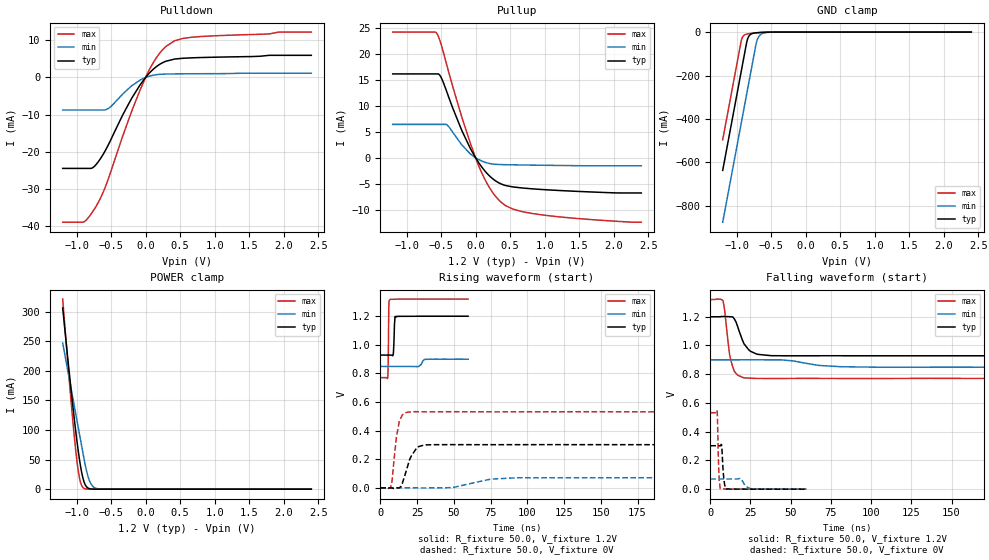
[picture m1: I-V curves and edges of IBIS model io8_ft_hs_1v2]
| [Disclaimer]  This information is for modeling purpose only and is
| not guaranted. The information is subject to change without
| notice.
| [Copyright] Copyright 2025 STMicroelectronics Inc.
| From stm32c091_092_ufqfpn48.ibs, stm32c091_092_ufqfpn48, STMicroelectronics
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[Model]   io8_ft_hs_1v2
Model_type I/O
Polarity   Non-Inverting
Enable   Active-Low
| CAP_THRESHOLD on pad IOFT is "UDTCAPC" :
| Rising=30.0% of vddiom   Falling=70.0% of vddiom
| C_comp min and max val. don't necessarily correlate with the min and max pvt
| but are the smallest and greatest pad capacitance found.
| var   typ   min   max
C_comp   1.65399pF  1.65230pF  1.65862pF
|C_comp_pullup   919.52500fF  960.64500fF  944.83500fF
|C_comp_pulldown   734.46002fF  691.65501fF  713.78001fF
Vinl = 450.0mV
Vinh = 660.0mV
Vmeas = 600.0mV   | Reference voltage for timing measurements
Cref  = 50.0pF   | Timing specification test load capacitance value
Rref  = 1.0MOhm   | Timing specification test load resistance value
Vref  = 660.0mV   | Timing specification test load voltage
[Model Spec]
| TIME_THRESHOLD on pin ZIV12 is "CMOS" :
| Rising=50.0% of vdd   Falling=50.0% of vdd
Vinl 458.70000mV 361.70000mV 499.70000mV
Vinh 728.30000mV 549.30000mV 792.30000mV
| variable   typ   min   max
[Temperature Range] 25.0 125.0 -40.0
| variable   typ   min   max
[Voltage Range] 1.2V 900.0mV 1.32V
| variable   typ   min   max
[POWER Clamp Reference] 1.2V 900.0mV 1.32V
| variable   typ   min   max
[GND Clamp Reference] 0V 0V 0V
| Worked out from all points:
|   slope of the pulldown table from 0 to 0.18 V, typ, clamps not added: 55.6 ohm
|   slope of the pullup table from 0 to 0.18 V, typ, clamps not added: 56.3 ohm
|   GND clamp passes 1 mA (typ) near -0.61 V on its own axis
|   POWER clamp passes 1 mA (typ) near -0.81 V on its own axis
|   rising waveform, R_fixture 50.0, V_fixture 1.2V: 20-80 % time 550ps typ, 1.72ns min, 320ps max; typ from 0.928 V to 1.2 V
|   falling waveform, R_fixture 50.0, V_fixture 1.2V: 20-80 % time 6.44ns typ, 17.6ns min, 3.89ns max; typ from 1.2 V to 0.928 V
|   rising waveform, R_fixture 50.0, V_fixture 0V: 20-80 % time 6.47ns typ, 18.6ns min, 3.7ns max; typ from 0 V to 0.302 V
|   falling waveform, R_fixture 50.0, V_fixture 0V: 20-80 % time 1.15ns typ, 3.04ns min, 787ps max; typ from 0.302 V to 0 V
[POWER Clamp]
-1.2V     306.2mA    246.9mA    321.2mA
-1.09V    180mA      177.2mA    163.4mA
-1.05V    136.9mA    151.8mA    110.9mA
-1.01V    96.55mA    126.4mA    64.02mA
-960mV    52.29mA    94.73mA    20.68mA
-930mV    31.08mA    75.71mA    7.282mA
-900mV    15.67mA    56.69mA    2.025mA
-860mV    4.779mA    33.42mA    315.2uA
-810mV    823.2uA    13.62mA    29.21uA
-760mV    129.2uA    4.248mA    2.687uA
-690mV    9.442uA    651.7uA    95.02nA
2.4V      0A         0A         0A
[GND Clamp]
-1.2V     -636.9mA   -875.6mA   -495.8mA
-940mV    -194.9mA   -433.6mA   -53.78mA
-920mV    -160.9mA   -399.6mA   -28.06mA
-890mV    -109.9mA   -348.6mA   -14.28mA
-850mV    -43.09mA   -280.6mA   -9.18mA
-830mV    -23.96mA   -246.6mA   -8.001mA
-790mV    -9.264mA   -178.6mA   -6.254mA
-710mV    -3.12mA    -46.23mA   -3.486mA
-680mV    -2.303mA   -22.08mA   -2.625mA
-650mV    -1.674mA   -11.03mA   -1.876mA
-450mV    -34.83uA   -165.4uA   -17.32uA
2.4V      336.3pA    36.26nA    239.5pA
| variable   typ   min   max
[Pullup Reference] 1.2V 900.0mV 1.32V
| variable   typ   min   max
[Pulldown Reference] 0V 0V 0V
[Pullup]
-1.2V     16.12mA    6.417mA    24.16mA
-560mV    16.12mA    6.417mA    23.88mA
-500mV    15.46mA    6.417mA    21.84mA
-410mV    12.44mA    6.274mA    17.5mA
-200mV    5.266mA    2.483mA    7.842mA
20mV      -429.9uA   -159.5uA   -695.4uA
110mV     -2.132mA   -737.9uA   -3.474mA
210mV     -3.59mA    -1.121mA   -5.919mA
400mV     -5.186mA   -1.316mA   -8.867mA
540mV     -5.604mA   -1.354mA   -9.861mA
920mV     -6.061mA   -1.43mA    -10.9mA
2.4V      -6.767mA   -1.538mA   -12.38mA
[Pulldown]
-1.2V     -24.47mA   -8.75mA    -38.94mA
-890mV    -24.47mA   -8.75mA    -38.83mA
-780mV    -24.4mA    -8.75mA    -36.48mA
-710mV    -23.27mA   -8.75mA    -34.44mA
-530mV    -17.77mA   -8.214mA   -26.77mA
-330mV    -10.03mA   -4.428mA   -15.71mA
-80mV     -2.009mA   -705.4uA   -3.396mA
110mV     2.198mA    601.6uA    3.95mA
290mV     4.348mA    923.6uA    8.288mA
420mV     4.961mA    964.2uA    9.88mA
670mV     5.29mA     1.001mA    10.83mA
2.4V      5.965mA    1.157mA    12.22mA
[Ramp]
dV/dt_r 181.37378mV/6.46903ns 42.38467mV/18.5518ns 319.49568mV/3.69729ns
dV/dt_f 163.05814mV/6.40868ns 30.52169mV/17.55528ns 329.21523mV/3.83667ns
R_load = 50.0
| Removed startup time: 0s 0s 0s  .
| Removed end time: 59.75ns.
[Rising Waveform]
R_fixture   = 50.0
V_fixture   = 1.2V
V_fixture_min = 900.0mV
V_fixture_max = 1.32V
0s        928.4mV    849mV      770.7mV
5.1ns     928.5mV    849mV      770.8mV
5.4ns     928.5mV    849mV      870.5mV
5.8ns     928.5mV    849mV      1.263V
6ns       928.5mV    849mV      1.307V
6.5ns     928.5mV    849mV      1.316V
8.9ns     939.8mV    849mV      1.318V
9.65ns    1.142V     849mV      1.319V
10.1ns    1.199V     849mV      1.319V
59.75ns   1.2V       899.6mV    1.32V
| Removed startup time: 0s 0s 0s  .
| Removed end time: 998.0ns.
[Falling Waveform]
R_fixture   = 50.0
V_fixture   = 1.2V
V_fixture_min = 900.0mV
V_fixture_max = 1.32V
0s        1.2V       900mV      1.32V
8ns       1.201V     900mV      1.309V
9ns       1.202V     900mV      1.241V
12ns      1.2V       900mV      937.1mV
15ns      1.184V     900mV      819.3mV
21ns      1.011V     900.5mV    774.8mV
27ns      949.6mV    900.3mV    771.2mV
38ns      929mV      900mV      770.3mV
104ns     928.4mV    848.9mV    770.4mV
998ns     928.2mV    849.1mV    771.3mV
| Removed startup time: 0s 0s 0s  .
| Removed end time: 999.0ns.
[Rising Waveform]
R_fixture   = 50.0
V_fixture   = 0V
V_fixture_min = 0V
V_fixture_max = 0V
0s        58.14nV    92.63nV    -3.929uV
7ns       43.49uV    153.8nV    1.079mV
8ns       -282.2uV   135.8nV    48.82mV
11ns      -340.2uV   104.2nV    356.5mV
13ns      549uV      160.8nV    468.1mV
16ns      64.15mV    -70.43nV   518.8mV
23ns      251.9mV    21.62uV    532.6mV
30ns      300.2mV    -961.9uV   531.6mV
94ns      302.1mV    70.94mV    531.7mV
999ns     302.3mV    70.64mV    532.5mV
| Removed startup time: 0s 0s 0s  .
| Removed end time: 59.75ns.
[Falling Waveform]
R_fixture   = 50.0
V_fixture   = 0V
V_fixture_min = 0V
V_fixture_max = 0V
0s        302.1mV    70.7mV     532mV
4.3ns     302.1mV    70.7mV     538.6mV
5.25ns    302.1mV    70.7mV     143mV
6.2ns     301.5mV    70.7mV     2.514mV
7.05ns    305.3mV    70.7mV     2.803mV
8.45ns    71.12mV    70.7mV     1.518mV
9.95ns    1.046mV    70.7mV     693uV
19.15ns   321.8uV    71.1mV     57.29uV
24.75ns   -76.04uV   4.183mV    -21.37uV
59.75ns   -136.3uV   99.69uV    56.65uV
